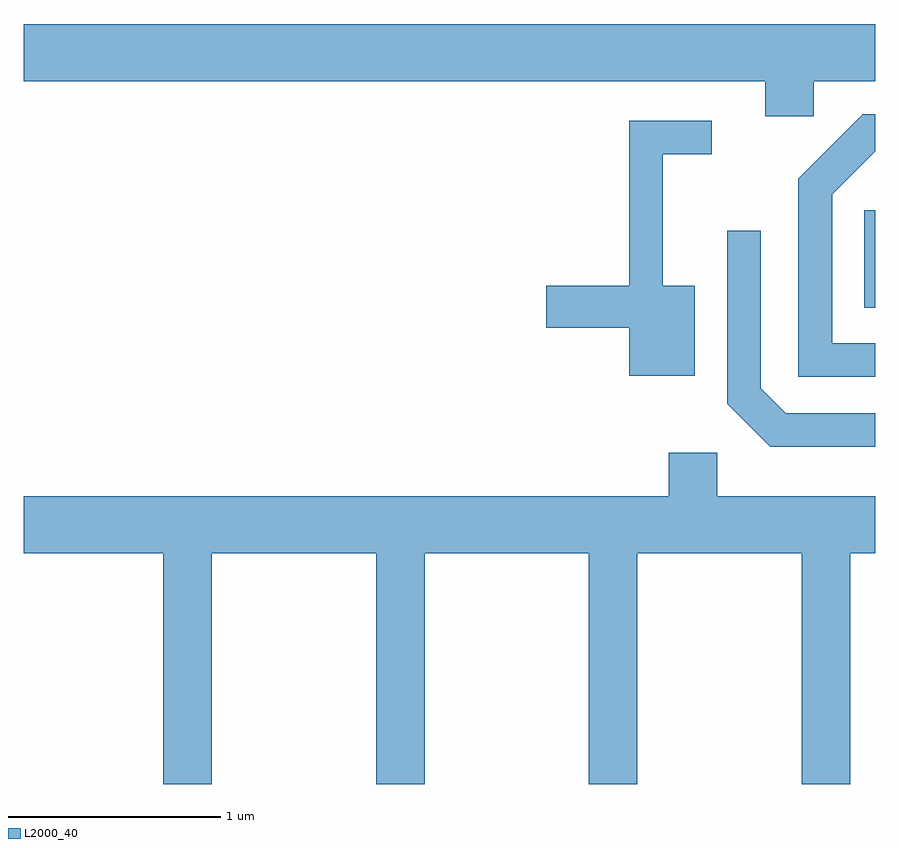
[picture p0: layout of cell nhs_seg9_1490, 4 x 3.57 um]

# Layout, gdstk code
import gdstk
lib = gdstk.Library(unit=1e-6, precision=1e-09)
def R(c, l, rs):  # rectangles x0, y0, x1, y1
    for r in rs: c.add(gdstk.rectangle(r[:2], r[2:], *l))
def P(c, l, *ps):  # polygons
    for p in ps: c.add(gdstk.Polygon(p, *l))
L2000_40 = (2000, 40)

nhs_seg9_1490 = lib.new_cell('nhs_seg9_1490')
R(nhs_seg9_1490, L2000_40, [(231.561,2070.671,231.611,2071.129)])
P(nhs_seg9_1490, L2000_40, [(231.324,2071.736),(231.611,2071.736),(231.611,2072.004),(227.611,2072.004),(227.611,2071.736),(231.096,2071.736),(231.096,2071.571),(231.324,2071.571)],
  [(231.611,2070.504),(231.409,2070.504),(231.409,2071.204),(231.611,2071.405),(231.611,2071.579),(231.554,2071.579),(231.251,2071.277),(231.251,2070.346),(231.611,2070.346)],
  [(230.764,2070.774),(230.614,2070.774),(230.614,2071.391),(230.843,2071.391),(230.843,2071.549),(230.456,2071.549),(230.456,2070.774),(230.066,2070.774),(230.066,2070.576),(230.456,2070.576),(230.456,2070.351),(230.764,2070.351)],
  [(231.611,2070.174),(231.192,2070.174),(231.074,2070.292),(231.074,2071.033),(230.916,2071.033),(230.916,2070.219),(231.119,2070.016),(231.611,2070.016)],
  [(228.494,2069.516),(229.266,2069.516),(229.266,2068.432),(229.494,2068.432),(229.494,2069.516),(230.266,2069.516),(230.266,2068.432),(230.494,2068.432),(230.494,2069.516),(231.266,2069.516),(231.266,2068.432),(231.494,2068.432),(231.494,2069.516),(231.611,2069.516),(231.611,2069.784),(230.869,2069.784),(230.869,2069.989),(230.641,2069.989),(230.641,2069.784),(227.611,2069.784),(227.611,2069.516),(228.266,2069.516),(228.266,2068.432),(228.494,2068.432)])

lib.write_gds('nhs_seg9_1490.gds')
